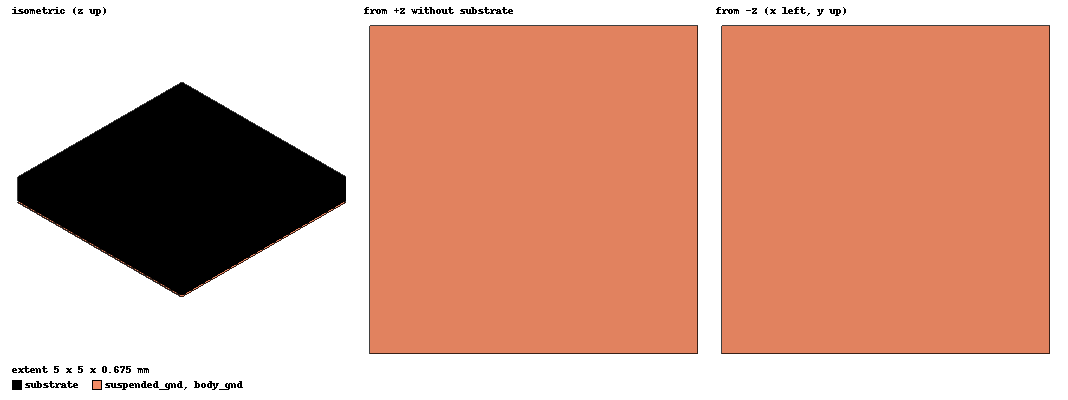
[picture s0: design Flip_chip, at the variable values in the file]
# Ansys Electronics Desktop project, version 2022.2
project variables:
  $z_gnd = 10nm
  $z_sub = 625um
  $z_cell = 200nm
  $y_cell = 0.4mm
  $frame_width = 10u
  $cell_width = 4u+3*$junction_width
  $cell_height = 25u
  $r = 0.08meter
  $junction_height = 14um
  $junction_width = 1.5um
  $z_suspension = 250n
  $chip_width = 5mm
  $cop_gnd_gap = $cell_height+3u
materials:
  vacuum: permittivity=1
  copper: permeability=0.999991 conductivity=58000000
  silicon: permittivity=11.9
  aluminum: permeability=1.000021 conductivity=38000000
  pec: conductivity=1e+30

design Flip_chip_unit_cell (Q3D Extractor, model units mm)
options: SParamCalcMethod=EqTransLine Calculate_Lossy_Dielectrics
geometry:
  coplanar_gnd [pec] = box(corner=($chip_width/2, -$chip_width/2, $z_sub), size=(-5mm, 5mm, $z_gnd))
  substrate [silicon] = box(corner=(2.5mm, -2.5mm, 0mm), size=(-5mm, 5mm, $z_sub))
  cell_frame_left [pec] = box(corner=(-($cell_height/2), -($cell_width/2+$frame_width), ($z_sub)), size=($cell_height, $frame_width, $z_cell))
  cell_frame_right [pec] = cell_frame_left.duplicate_mirror(point=(0mm, 0mm, 0mm), normal=(0mm, 1mm, 0mm))
  Cell_subtract = box(corner=($cop_gnd_gap/2, -$chip_width/2*0.99, $z_sub), size=(-$cop_gnd_gap, $chip_width*0.99, $z_gnd))
  suspended_gnd [pec] = box(corner=(2.5mm, -2.5mm, $z_sub+$z_cell+$z_suspension), size=(-5mm, 5mm, $z_gnd))
  coplanar_gnd.subtract(Cell_subtract)
  small_junction_frame_left [pec] = box(corner=(-($cell_height/2), (- $cell_width/2), ($z_gnd+$z_sub)), size=($r*$junction_height, $cell_width/2-$junction_width/2, $z_cell))
  small_junction_frame_right [pec] = small_junction_frame_left.duplicate_mirror(point=(0mm, 0mm, 0.08mm), normal=(0mm, -1mm, 0mm))
  large_junction_frame_left [pec] = box(corner=($cell_height/2-$junction_height, -$junction_width/2, ($z_gnd+$z_sub)), size=($junction_height, -($cell_width/2-1.5*$junction_width), $z_cell))
  large_junction_frame_right [pec] = large_junction_frame_left.duplicate_mirror(point=(0.44mm, 0mm, 0mm), normal=(0mm, 1mm, 0mm))
  group Die = coplanar_gnd, substrate, suspended_gnd
  group _frame_Group = cell_frame_left, cell_frame_right, small_junction_frame_left, small_junction_frame_right, large_junction_frame_left, large_junction_frame_right
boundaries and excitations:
  cell_frame_left: SignalNet Objects=[cell_frame_left, small_junction_frame_left]
  suspended_gnd: GroundNet Objects=suspended_gnd
  body_gnd: GroundNet Objects=coplanar_gnd
  cell_frame_right: SignalNet Objects=[cell_frame_right, small_junction_frame_right]
  large_junction_frame_left: SignalNet Objects=large_junction_frame_left
  large_junction_frame_right: SignalNet Objects=large_junction_frame_right
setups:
  CG_quick: Matrix AdaptiveFreq=1GHz Cap{MaxPass=15 MinPass=1 MinConvPass=1 PerError=1 PerRefine=30 AutoIncreaseSolutionOrder SolutionOrder=High Solver_Type=Iterative} ErrorValue=0.1
  CG_precise: Matrix AdaptiveFreq=1GHz SaveFields Cap{MaxPass=30 MinPass=1 MinConvPass=2 PerError=1 PerRefine=50 AutoIncreaseSolutionOrder SolutionOrder=Highest Solver_Type=Iterative} NumberSolveSteps=1 RangeStart=0s RangeEnd=1s ErrorValue=0.1
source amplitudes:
  cell_frame_left: Cap 1V 0deg
  cell_frame_right, large_junction_frame_left, large_junction_frame_right: Cap 0V 0deg

design Flip_chip (Q3D Extractor, model units mm)
options: SParamCalcMethod=EqTransLine Calculate_Lossy_Dielectrics
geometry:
  body_gnd [copper] = box(corner=(2.5mm, -2.5mm, 0mm), size=(-5mm, 5mm, $z_gnd))
  substrate [silicon] = box(corner=(2.5mm, -2.5mm, 0.05mm), size=(-5mm, 5mm, $z_sub))
  suspended_gnd [copper] = body_gnd.duplicate_along_line(step=(0mm, 0mm, 300nm+$z_cell+$z_gnd+$z_sub), total=2)
  group Die = body_gnd, substrate, suspended_gnd
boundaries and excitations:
  body_gnd: SignalNet Objects=body_gnd
  suspended_gnd: SignalNet Objects=suspended_gnd
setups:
  Setup1: Matrix AdaptiveFreq=1GHz SaveFields Cap{MaxPass=10 MinPass=1 MinConvPass=1 PerError=1 PerRefine=30 AutoIncreaseSolutionOrder SolutionOrder=High Solver_Type=Iterative} ErrorValue=0.1
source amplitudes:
  body_gnd: Cap 1V 0deg
  suspended_gnd: Cap 0V 0deg

design Unit_cell (Q3D Extractor, model units mm)
options: SParamCalcMethod=EqTransLine Calculate_Lossy_Dielectrics
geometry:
  cell_frame_left [aluminum] = box(corner=(-($cell_height/2), -($cell_width/2+$frame_width), ($z_gnd+$z_sub)), size=($cell_height, $frame_width, $z_cell))
  small_junction_frame_left [aluminum] = box(corner=(-($cell_height/2), (- $cell_width/2), ($z_gnd+$z_sub)), size=($r*$junction_height, $cell_width/2-$junction_width/2, $z_cell))
  small_junction_frame_right [aluminum] = small_junction_frame_left.duplicate_mirror(point=(0mm, 0mm, 0.08mm), normal=(0mm, -1mm, 0mm))
  large_junction_frame_left [aluminum] = box(corner=($cell_height/2-$junction_height, -$junction_width/2, ($z_gnd+$z_sub)), size=($junction_height, -($cell_width/2-1.5*$junction_width), $z_cell))
  large_junction_frame_right [aluminum] = large_junction_frame_left.duplicate_mirror(point=(0.44mm, 0mm, 0mm), normal=(0mm, 1mm, 0mm))
  cell_frame_right [aluminum] = cell_frame_left.duplicate_mirror(point=(0mm, 0mm, 0mm), normal=(0mm, 1mm, 0mm))
  small_junction [aluminum] = box(corner=(-($cell_height/2), -$junction_width/2, ($z_gnd+$z_sub)), size=($r*$junction_height, $junction_width, $z_cell))
  large_junction [aluminum] = box(corner=($cell_height/2-$junction_height, -$cell_width/2, ($z_gnd+$z_sub)), size=($junction_height, $junction_width, $z_cell))
  large_junction_1, large_junction_2 [aluminum] = large_junction.duplicate_along_line(step=(0mm, ($cell_width-$junction_width)/2, 0mm), total=3)
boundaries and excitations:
  cell_frame_left: SignalNet Objects=[cell_frame_left, small_junction_frame_left, small_junction_frame_right, large_junction_frame_left, large_junction_frame_right, cell_frame_right, small_junction, large_junction, large_junction_1, large_junction_2]
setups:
  Setup1: Matrix AdaptiveFreq=1GHz SaveFields Cap{MaxPass=10 MinPass=1 MinConvPass=1 PerError=1 PerRefine=30 AutoIncreaseSolutionOrder SolutionOrder=High Solver_Type=Iterative} ErrorValue=0.1
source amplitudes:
  cell_frame_left: Cap 1V 0deg
